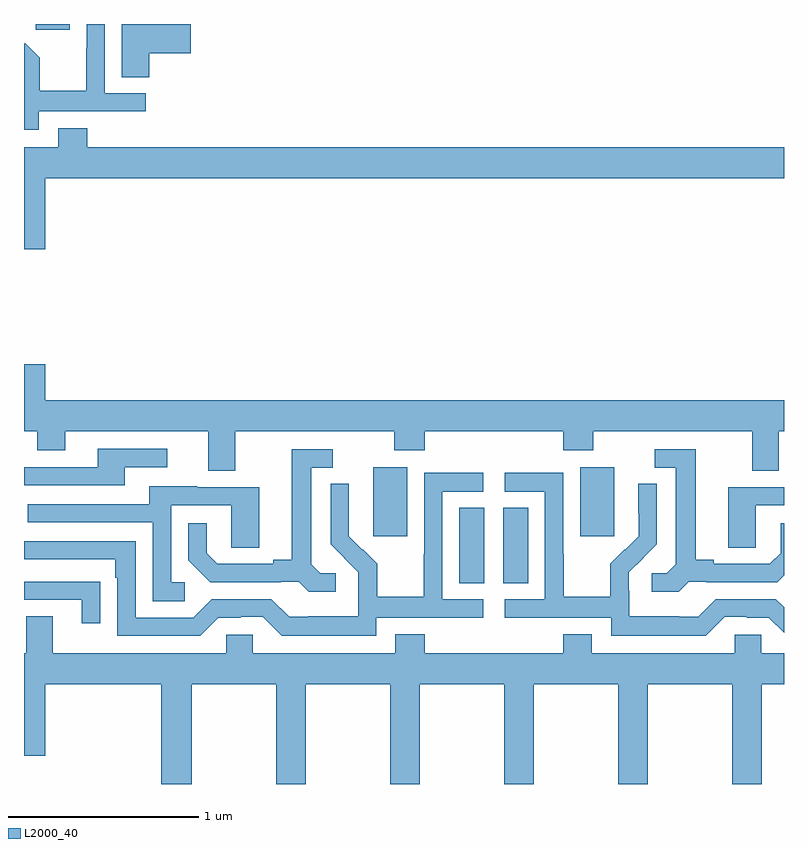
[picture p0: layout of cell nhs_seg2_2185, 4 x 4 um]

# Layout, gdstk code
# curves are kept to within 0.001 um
import gdstk
lib = gdstk.Library(unit=1e-6, precision=1e-09)
def R(c, l, rs):  # rectangles x0, y0, x1, y1
    for r in rs: c.add(gdstk.rectangle(r[:2], r[2:], *l))
def P(c, l, *ps):  # polygons
    for p in ps: c.add(gdstk.Polygon(p, *l))
L2000_40 = (2000, 40)

nhs_seg2_2185 = lib.new_cell('nhs_seg2_2185')
R(nhs_seg2_2185, L2000_40, [(227.291,626.857,227.422,627.254), (227.522,626.857,227.653,627.254), (226.838,627.105,227.017,627.466), (227.927,627.105,228.106,627.466), (225.062,629.769,225.241,629.8)])
P(nhs_seg2_2185, L2000_40, [(225.659,629.645),(225.877,629.645),(225.877,629.8),(225.515,629.8),(225.515,629.521),(225.659,629.521)],
  [(225.078,629.34),(225.64,629.34),(225.64,629.436),(225.426,629.436),(225.426,629.8),(225.33,629.8),(225.33,629.672),(225.328,629.672),(225.328,629.449),(225.083,629.449),(225.083,629.623),(225.006,629.7),(225.003,629.697),(225,629.7),(225,629.243),(225.078,629.243)],
  [(225.112,628.988),(229,628.988),(229,629.152),(225.332,629.152),(225.332,629.251),(225.179,629.251),(225.179,629.152),(225,629.152),(225,628.614),(225.112,628.614)],
  [(226.111,627.656),(226.948,627.656),(226.948,627.557),(227.108,627.557),(227.108,627.656),(227.837,627.656),(227.837,627.557),(227.997,627.557),(227.997,627.656),(228.833,627.656),(228.833,627.448),(228.973,627.448),(228.973,627.656),(229,627.656),(229,627.82),(225.112,627.82),(225.112,628.009),(225,628.009),(225,627.656),(225.07,627.656),(225.07,627.557),(225.217,627.557),(225.217,627.656),(225.971,627.656),(225.971,627.448),(226.111,627.448)],
  [(225.529,627.468),(225.754,627.468),(225.754,627.564),(225.389,627.564),(225.389,627.468),(225,627.468),(225,627.372),(225.529,627.372)],
  [(226.642,626.91),(226.56,626.91),(226.513,626.957),(226.513,627.465),(226.624,627.465),(226.624,627.561),(226.409,627.561),(226.409,626.981),(226.313,626.981),(226.313,626.958),(226.018,626.958),(225.961,627.015),(225.961,627.172),(225.864,627.172),(225.864,626.978),(225.98,626.862),(226.352,626.862),(226.352,626.865),(226.446,626.865),(226.498,626.813),(226.642,626.813)],
  [(228.498,626.865),(228.592,626.865),(228.592,626.862),(228.964,626.862),(229,626.898),(229,627.172),(228.983,627.172),(228.983,627.015),(228.926,626.958),(228.631,626.958),(228.631,626.981),(228.535,626.981),(228.535,627.561),(228.321,627.561),(228.321,627.465),(228.431,627.465),(228.431,626.957),(228.384,626.91),(228.303,626.91),(228.303,626.813),(228.446,626.813)],
  [(226.854,626.676),(227.416,626.676),(227.416,626.772),(227.202,626.772),(227.202,627.339),(227.416,627.339),(227.416,627.438),(227.106,627.438),(227.106,627.008),(227.104,627.008),(227.104,626.785),(226.859,626.785),(226.859,626.959),(226.782,627.036),(226.779,627.033),(226.709,627.104),(226.71,627.38),(226.614,627.38),(226.614,627.062),(226.76,626.914),(226.76,626.817),(226.758,626.817),(226.758,626.683),(226.495,626.683),(226.495,626.679),(226.395,626.679),(226.302,626.772),(225.987,626.772),(225.891,626.676),(225.588,626.676),(225.588,627.078),(225,627.078),(225,626.982),(225.479,626.982),(225.479,626.885),(225.492,626.885),(225.492,626.58),(225.927,626.58),(226.023,626.676),(226.142,626.676),(226.142,626.679),(226.257,626.679),(226.357,626.579),(226.854,626.579)],
  [(228.687,626.679),(228.803,626.679),(228.803,626.676),(228.921,626.676),(229,626.597),(229,626.729),(228.957,626.772),(228.642,626.772),(228.549,626.679),(228.449,626.679),(228.449,626.683),(228.186,626.683),(228.186,626.817),(228.184,626.817),(228.184,626.914),(228.33,627.062),(228.33,627.38),(228.234,627.38),(228.234,627.226),(228.236,627.226),(228.236,627.104),(228.165,627.033),(228.162,627.036),(228.085,626.959),(228.085,626.785),(227.841,626.785),(227.841,627.008),(227.838,627.008),(227.838,627.438),(227.529,627.438),(227.529,627.339),(227.742,627.339),(227.742,626.772),(227.529,626.772),(227.529,626.676),(228.09,626.676),(228.09,626.579),(228.587,626.579)],
  [(225.847,626.862),(225.774,626.862),(225.774,627.267),(226.092,627.267),(226.092,627.043),(226.237,627.043),(226.237,627.363),(225.913,627.363),(225.913,627.367),(225.659,627.367),(225.659,627.273),(225.019,627.273),(225.019,627.177),(225.678,627.177),(225.678,626.761),(225.847,626.761)],
  [(228.852,627.267),(229,627.267),(229,627.363),(228.707,627.363),(228.707,627.043),(228.852,627.043)],
  [(225.401,626.864),(225.299,626.864),(225.299,626.865),(225,626.865),(225,626.769),(225.305,626.769),(225.305,626.646),(225.401,626.646)],
  [(228.741,626.586),(228.741,626.488),(227.989,626.488),(227.989,626.587),(227.837,626.587),(227.837,626.488),(227.108,626.488),(227.108,626.587),(226.955,626.587),(226.955,626.488),(226.203,626.488),(226.203,626.586),(226.065,626.586),(226.065,626.488),(225.151,626.488),(225.151,626.683),(225.011,626.683),(225.011,626.488),(225,626.488),(225,625.95),(225.112,625.95),(225.112,626.324),(225.722,626.324),(225.722,625.8),(225.882,625.8),(225.882,626.324),(226.327,626.324),(226.327,625.8),(226.482,625.8),(226.482,626.324),(226.927,626.324),(226.927,625.8),(227.082,625.8),(227.082,626.324),(227.527,626.324),(227.527,625.8),(227.682,625.8),(227.682,626.324),(228.127,626.324),(228.127,625.8),(228.282,625.8),(228.282,626.324),(228.727,626.324),(228.727,625.8),(228.882,625.8),(228.882,626.324),(229,626.324),(229,626.488),(228.879,626.488),(228.879,626.586)])

lib.write_gds('nhs_seg2_2185.gds')
